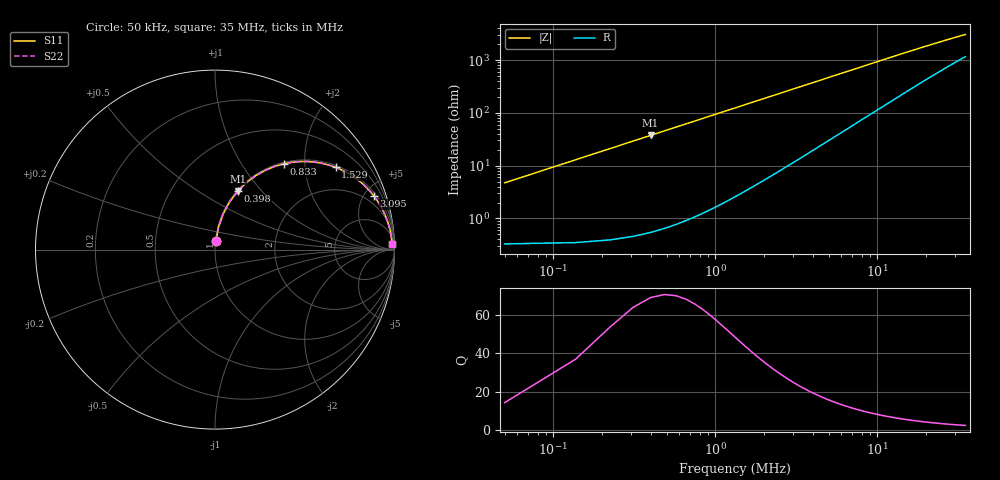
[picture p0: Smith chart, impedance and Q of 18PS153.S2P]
! Coilcraft 1812PS-153 Power Chip Inductor
! 1 October 2002
# MHZ S MA R 50
!Freq  MagS11  AngS11  MagS21  AngS21  MagS12  AngS12  MagS22  AngS22
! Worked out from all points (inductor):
!   403 points, 50 kHz to 35 MHz, reference 50 ohm
!   read as one part in series: L = 15 uH near 224 kHz
!   highest Q = 65.9 at 398 kHz (marker M1), where L = 15 uH
!   S11 on the Smith chart (normalised r, x): 50 kHz: 1.01, +0.09; 398 kHz: 1.01, +0.75; 833 kHz: 1.02, +1.57; 1.529 MHz: 1.07, +2.89; 3.095 MHz: 1.24, +5.83; 35 MHz: 24, +57
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0.05  0.04704 83.3  0.9956 -2.7  0.9956 -2.7  0.04704 83.3
0.137  0.1278 81.1  0.9884 -7.3  0.9884 -7.3  0.1278 81.1
0.311  0.2805 72.8  0.9555 -16.3  0.9555 -16.3  0.2805 72.8
0.398  0.35 68.7  0.9317 -20.5  0.9317 -20.5  0.35 68.7
0.485  0.414 64.7  0.9044 -24.5  0.9044 -24.5  0.414 64.7
0.572  0.4723 61.0  0.8747 -28.2  0.8747 -28.2  0.4723 61.0
0.659  0.5248 57.5  0.8436 -31.6  0.8436 -31.6  0.5248 57.5
0.833  0.6134 51.3  0.7801 -37.8  0.7801 -37.8  0.6134 51.3
1.181  0.7374 41.4  0.6615 -47.5  0.6615 -47.5  0.7374 41.4
1.529  0.8133 34.3  0.5636 -54.4  0.5636 -54.4  0.8133 34.3
1.877  0.861 29.1  0.4861 -59.4  0.4861 -59.4  0.861 29.1
2.225  0.8922 25.1  0.425 -63.1  0.425 -63.1  0.8922 25.1
3.095  0.9344 18.7  0.3201 -69.0  0.3201 -69.0  0.9344 18.7
4.4  0.9599 13.4  0.2315 -73.4  0.2315 -73.4  0.9599 13.4
5.879  0.9717 10.1  0.1755 -75.7  0.1755 -75.7  0.9717 10.1
8.489  0.9797 7.0  0.1229 -77.0  0.1229 -77.0  0.9797 7.0
11.708  0.9834 5.1  0.08987 -76.8  0.08987 -76.8  0.9834 5.1
14.405  0.9848 4.2  0.0735 -76.0  0.0735 -76.0  0.9848 4.2
17.537  0.9857 3.4  0.06084 -74.7  0.06084 -74.7  0.9857 3.4
23.366  0.9866 2.6  0.04641 -71.9  0.04641 -71.9  0.9866 2.6
29.195  0.987 2.1  0.03788 -68.9  0.03788 -68.9  0.987 2.1
35  0.9873 1.7  0.03231 -65.9  0.03231 -65.9  0.9873 1.7
